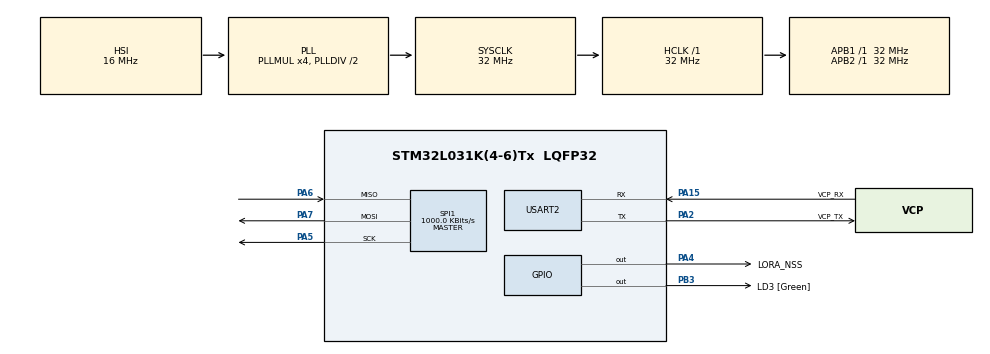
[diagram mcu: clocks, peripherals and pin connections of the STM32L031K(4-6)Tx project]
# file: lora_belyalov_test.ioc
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Mcu.Family=STM32L0
Mcu.Name=STM32L031K(4-6)Tx
Mcu.Package=LQFP32
PA13.GPIO_Label=TMS
PA13.Mode=Serial_Wire
PA13.Signal=SYS_SWDIO
PA14.GPIO_Label=TCK
PA14.Mode=Serial_Wire
PA14.Signal=SYS_SWCLK
PA15.GPIO_Label=VCP_RX
PA15.Mode=Asynchronous
PA15.Signal=USART2_RX
PA2.GPIO_Label=VCP_TX
PA2.Mode=Asynchronous
PA2.Signal=USART2_TX
PA4.GPIO_Label=LORA_NSS
PA4.Signal=GPIO_Output
PA5.Mode=Full_Duplex_Master
PA5.Signal=SPI1_SCK
PA6.Mode=Full_Duplex_Master
PA6.Signal=SPI1_MISO
PA7.Mode=Full_Duplex_Master
PA7.Signal=SPI1_MOSI
PB3.GPIO_Label=LD3 [Green]
PB3.Signal=GPIO_Output
PC14-OSC32_IN.Mode=LSE-External-Oscillator
PC14-OSC32_IN.Signal=RCC_OSC32_IN
PC15-OSC32_OUT.Mode=LSE-External-Oscillator
PC15-OSC32_OUT.Signal=RCC_OSC32_OUT
ProjectManager.HeapSize=0x200
ProjectManager.StackSize=0x400
ProjectManager.TargetToolchain=STM32CubeIDE
RCC.AHBFreq_Value=32000000
RCC.APB1Freq_Value=32000000
RCC.APB1TimFreq_Value=32000000
RCC.APB2Freq_Value=32000000
RCC.APB2TimFreq_Value=32000000
RCC.HCLKFreq_Value=32000000
RCC.HSE_VALUE=8000000
RCC.HSI16_VALUE=16000000
RCC.HSI48_VALUE=48000000
RCC.HSI_VALUE=16000000
RCC.MSI_VALUE=2097000
RCC.PLLMUL=RCC_PLLMUL_4
RCC.RTCClockSelection=RCC_RTCCLKSOURCE_LSE
RCC.RTCClockSelectionVirtual=RCC_RTCCLKSOURCE_LSE
RCC.SYSCLKFreq_VALUE=32000000
RCC.SYSCLKSource=RCC_SYSCLKSOURCE_PLLCLK
RCC.VCOOutputFreq_Value=64000000
RTC.WakeUpCounter-WakeUp=0x500B
SPI1.BaudRatePrescaler=SPI_BAUDRATEPRESCALER_32
SPI1.CalculateBaudRate=1000.0 KBits/s
SPI1.Direction=SPI_DIRECTION_2LINES
SPI1.Mode=SPI_MODE_MASTER
SPI1.VirtualType=VM_MASTER
USART2.VirtualMode-Asynchronous=VM_ASYNC
VP_RTC_VS_RTC_Activate.Mode=RTC_Enabled
VP_RTC_VS_RTC_WakeUp_intern.Mode=WakeUp
board=NUCLEO-L031K6

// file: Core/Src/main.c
/* USER CODE BEGIN Header */
/**
  ******************************************************************************
  * @file           : main.c
  * @brief          : Main program body
  ******************************************************************************
  * @attention
  *
  * Copyright (c) 2023 STMicroelectronics.
  * All rights reserved.
  *
  * This software is licensed under terms that can be found in the LICENSE file
  * in the root directory of this software component.
  * If no LICENSE file comes with this software, it is provided AS-IS.
  *
  ******************************************************************************
  */
/* USER CODE END Header */
#include "main.h"

/* USER CODE BEGIN Includes */
#include "lora_sx1276.h"
/* USER CODE END Includes */

/* USER CODE BEGIN PD */
// 0 MEANS TRANSMIT
// 1 MEANS RECEIVE
// 2 MEANS TESTING
#define LORA_MODE 0
/* USER CODE END PD */

RTC_HandleTypeDef hrtc;

SPI_HandleTypeDef hspi1;

UART_HandleTypeDef huart2;

/* USER CODE BEGIN PV */
uint8_t buffer[32];
/* USER CODE END PV */

void SystemClock_Config(void);
static void MX_GPIO_Init(void);
static void MX_USART2_UART_Init(void);
static void MX_SPI1_Init(void);
static void MX_RTC_Init(void);

/* USER CODE BEGIN 0 */
#ifdef __GNUC__
/* With GCC/RAISONANCE, small printf (option LD Linker->Libraries->Small printf
   set to 'Yes') calls __io_putchar() */
#define PUTCHAR_PROTOTYPE int __io_putchar(int ch)
#else
#define PUTCHAR_PROTOTYPE int fputc(int ch, FILE *f)
#endif /* __GNUC__ */

PUTCHAR_PROTOTYPE
{
  HAL_UART_Transmit(&huart2, (uint8_t *)&ch, 1, 0xFFFF);

  return ch;
}
/* USER CODE END 0 */

int main(void)
{

  /* MCU Configuration--------------------------------------------------------*/

  /* Reset of all peripherals, Initializes the Flash interface and the Systick. */
  HAL_Init();

  /* Configure the system clock */
  SystemClock_Config();

  /* Initialize all configured peripherals */
  MX_GPIO_Init();
  MX_USART2_UART_Init();
  MX_SPI1_Init();
  MX_RTC_Init();
  /* USER CODE BEGIN 2 */

  /*
   * PA4 -> A3	(NSS)
   * PA5 -> A4	(SCK)
   * PA6 -> A5 	(MISO)
   * PA7 -> A6 	(MOSI)
   * PB0 ->	D3  (RST)
   * PB1 ->	D6  (DIO0)
   * PB6 ->	D5  (DIO1)
   * PB7 ->	D4  (DIO2)
   */

  /* Check and handle if the system was resumed from StandBy mode */
  if(__HAL_PWR_GET_FLAG(PWR_FLAG_SB) != RESET)
  {
    /* Clear Standby flag */
    __HAL_PWR_CLEAR_FLAG(PWR_FLAG_SB);
  }
  /* Disable Wakeup Counter */
  HAL_RTCEx_DeactivateWakeUpTimer(&hrtc);
	/* Clear all related wakeup flags */
 __HAL_PWR_CLEAR_FLAG(PWR_FLAG_WU);

  lora_sx1276 lora;

  // Put the SPI pins in SPI mode
  uint8_t test_payload[2] = {0xF0,0x00};
  HAL_GPIO_WritePin(LORA_NSS_GPIO_Port, LORA_NSS_Pin, GPIO_PIN_RESET);
  HAL_SPI_Transmit(&hspi1, (uint8_t*)test_payload, 2, 0xFF);
  HAL_GPIO_WritePin(LORA_NSS_GPIO_Port, LORA_NSS_Pin, GPIO_PIN_SET);

  HAL_Delay(1000);

   // SX1276 compatible module connected to SPI1, NSS pin connected to GPIO with label LORA_NSS
   uint8_t res = lora_init(&lora, &hspi1, LORA_NSS_GPIO_Port, LORA_NSS_Pin, LORA_433_FREQUENCY);
   if (res != LORA_OK) {
	 printf("initialization failed \n");
	   HAL_GPIO_WritePin(LD3_GPIO_Port, LD3_Pin, GPIO_PIN_RESET);
   }
   else{
	   printf("initialization sucesfful \n");
	   HAL_GPIO_WritePin(LD3_GPIO_Port, LD3_Pin, GPIO_PIN_SET);
   }

  if(LORA_MODE == 0){
	   uint8_t res2 = lora_send_packet(&lora, (uint8_t *)"test", 4);
	   if (res2 != LORA_OK) {
			printf("send failed \n");
	   }
	   else{
		   printf("send sucessfull \n");
		   HAL_RTCEx_SetWakeUpTimer_IT(&hrtc, 0x500B, RTC_WAKEUPCLOCK_RTCCLK_DIV16);
		   HAL_PWR_EnterSTANDBYMode();
	   }
   }

   if(LORA_MODE == 1){
	  printf("enable continous lora receive \n");
	  lora_mode_receive_continuous(&lora);
   }

  /* USER CODE END 2 */

  /* Infinite loop */
  while (1)
  {

    /* USER CODE BEGIN 3 */
	  if(LORA_MODE == 1){
		  uint8_t res;
		  uint8_t len = lora_receive_packet_blocking(&lora, buffer, sizeof(buffer), 10000, &res);
		  if (res != LORA_OK) {
		  }
		  buffer[len] = 0;  // null terminate string to print it
		  printf("'%s'\n", buffer);
	  }
  }
  /* USER CODE END 3 */
}

void SystemClock_Config(void)
{
  RCC_OscInitTypeDef RCC_OscInitStruct = {0};
  RCC_ClkInitTypeDef RCC_ClkInitStruct = {0};
  RCC_PeriphCLKInitTypeDef PeriphClkInit = {0};

  /** Configure the main internal regulator output voltage
  */
  __HAL_PWR_VOLTAGESCALING_CONFIG(PWR_REGULATOR_VOLTAGE_SCALE1);

  /** Configure LSE Drive Capability
  */
  HAL_PWR_EnableBkUpAccess();
  __HAL_RCC_LSEDRIVE_CONFIG(RCC_LSEDRIVE_LOW);

  /** Initializes the RCC Oscillators according to the specified parameters
  * in the RCC_OscInitTypeDef structure.
  */
  RCC_OscInitStruct.OscillatorType = RCC_OSCILLATORTYPE_HSI|RCC_OSCILLATORTYPE_LSE;
  RCC_OscInitStruct.LSEState = RCC_LSE_ON;
  RCC_OscInitStruct.HSIState = RCC_HSI_ON;
  RCC_OscInitStruct.HSICalibrationValue = RCC_HSICALIBRATION_DEFAULT;
  RCC_OscInitStruct.PLL.PLLState = RCC_PLL_ON;
  RCC_OscInitStruct.PLL.PLLSource = RCC_PLLSOURCE_HSI;
  RCC_OscInitStruct.PLL.PLLMUL = RCC_PLLMUL_4;
  RCC_OscInitStruct.PLL.PLLDIV = RCC_PLLDIV_2;
  if (HAL_RCC_OscConfig(&RCC_OscInitStruct) != HAL_OK)
  {
    Error_Handler();
  }

  /** Initializes the CPU, AHB and APB buses clocks
  */
  RCC_ClkInitStruct.ClockType = RCC_CLOCKTYPE_HCLK|RCC_CLOCKTYPE_SYSCLK
                              |RCC_CLOCKTYPE_PCLK1|RCC_CLOCKTYPE_PCLK2;
  RCC_ClkInitStruct.SYSCLKSource = RCC_SYSCLKSOURCE_PLLCLK;
  RCC_ClkInitStruct.AHBCLKDivider = RCC_SYSCLK_DIV1;
  RCC_ClkInitStruct.APB1CLKDivider = RCC_HCLK_DIV1;
  RCC_ClkInitStruct.APB2CLKDivider = RCC_HCLK_DIV1;

  if (HAL_RCC_ClockConfig(&RCC_ClkInitStruct, FLASH_LATENCY_1) != HAL_OK)
  {
    Error_Handler();
  }
  PeriphClkInit.PeriphClockSelection = RCC_PERIPHCLK_USART2|RCC_PERIPHCLK_RTC;
  PeriphClkInit.Usart2ClockSelection = RCC_USART2CLKSOURCE_PCLK1;
  PeriphClkInit.RTCClockSelection = RCC_RTCCLKSOURCE_LSE;
  if (HAL_RCCEx_PeriphCLKConfig(&PeriphClkInit) != HAL_OK)
  {
    Error_Handler();
  }
}

static void MX_RTC_Init(void)
{

  /** Initialize RTC Only
  */
  hrtc.Instance = RTC;
  hrtc.Init.HourFormat = RTC_HOURFORMAT_24;
  hrtc.Init.AsynchPrediv = 127;
  hrtc.Init.SynchPrediv = 255;
  hrtc.Init.OutPut = RTC_OUTPUT_DISABLE;
  hrtc.Init.OutPutRemap = RTC_OUTPUT_REMAP_NONE;
  hrtc.Init.OutPutPolarity = RTC_OUTPUT_POLARITY_HIGH;
  hrtc.Init.OutPutType = RTC_OUTPUT_TYPE_OPENDRAIN;
  if (HAL_RTC_Init(&hrtc) != HAL_OK)
  {
    Error_Handler();
  }

  /** Enable the WakeUp
  */
  if (HAL_RTCEx_SetWakeUpTimer(&hrtc, 0x500B, RTC_WAKEUPCLOCK_RTCCLK_DIV16) != HAL_OK)
  {
    Error_Handler();
  }

}

static void MX_SPI1_Init(void)
{

  /* SPI1 parameter configuration*/
  hspi1.Instance = SPI1;
  hspi1.Init.Mode = SPI_MODE_MASTER;
  hspi1.Init.Direction = SPI_DIRECTION_2LINES;
  hspi1.Init.DataSize = SPI_DATASIZE_8BIT;
  hspi1.Init.CLKPolarity = SPI_POLARITY_LOW;
  hspi1.Init.CLKPhase = SPI_PHASE_1EDGE;
  hspi1.Init.NSS = SPI_NSS_SOFT;
  hspi1.Init.BaudRatePrescaler = SPI_BAUDRATEPRESCALER_32;
  hspi1.Init.FirstBit = SPI_FIRSTBIT_MSB;
  hspi1.Init.TIMode = SPI_TIMODE_DISABLE;
  hspi1.Init.CRCCalculation = SPI_CRCCALCULATION_DISABLE;
  hspi1.Init.CRCPolynomial = 7;
  if (HAL_SPI_Init(&hspi1) != HAL_OK)
  {
    Error_Handler();
  }

}

static void MX_USART2_UART_Init(void)
{

  huart2.Instance = USART2;
  huart2.Init.BaudRate = 115200;
  huart2.Init.WordLength = UART_WORDLENGTH_8B;
  huart2.Init.StopBits = UART_STOPBITS_1;
  huart2.Init.Parity = UART_PARITY_NONE;
  huart2.Init.Mode = UART_MODE_TX_RX;
  huart2.Init.HwFlowCtl = UART_HWCONTROL_NONE;
  huart2.Init.OverSampling = UART_OVERSAMPLING_16;
  huart2.Init.OneBitSampling = UART_ONE_BIT_SAMPLE_DISABLE;
  huart2.AdvancedInit.AdvFeatureInit = UART_ADVFEATURE_NO_INIT;
  if (HAL_UART_Init(&huart2) != HAL_OK)
  {
    Error_Handler();
  }

}

static void MX_GPIO_Init(void)
{
  GPIO_InitTypeDef GPIO_InitStruct = {0};

  /* GPIO Ports Clock Enable */
  __HAL_RCC_GPIOC_CLK_ENABLE();
  __HAL_RCC_GPIOA_CLK_ENABLE();
  __HAL_RCC_GPIOB_CLK_ENABLE();

  /*Configure GPIO pin Output Level */
  HAL_GPIO_WritePin(LORA_NSS_GPIO_Port, LORA_NSS_Pin, GPIO_PIN_RESET);

  /*Configure GPIO pin Output Level */
  HAL_GPIO_WritePin(LD3_GPIO_Port, LD3_Pin, GPIO_PIN_RESET);

  /*Configure GPIO pin : LORA_NSS_Pin */
  GPIO_InitStruct.Pin = LORA_NSS_Pin;
  GPIO_InitStruct.Mode = GPIO_MODE_OUTPUT_PP;
  GPIO_InitStruct.Pull = GPIO_NOPULL;
  GPIO_InitStruct.Speed = GPIO_SPEED_FREQ_LOW;
  HAL_GPIO_Init(LORA_NSS_GPIO_Port, &GPIO_InitStruct);

  /*Configure GPIO pin : LD3_Pin */
  GPIO_InitStruct.Pin = LD3_Pin;
  GPIO_InitStruct.Mode = GPIO_MODE_OUTPUT_PP;
  GPIO_InitStruct.Pull = GPIO_NOPULL;
  GPIO_InitStruct.Speed = GPIO_SPEED_FREQ_LOW;
  HAL_GPIO_Init(LD3_GPIO_Port, &GPIO_InitStruct);

}

void Error_Handler(void)
{
  __disable_irq();
  while (1)
  {
  }
}
